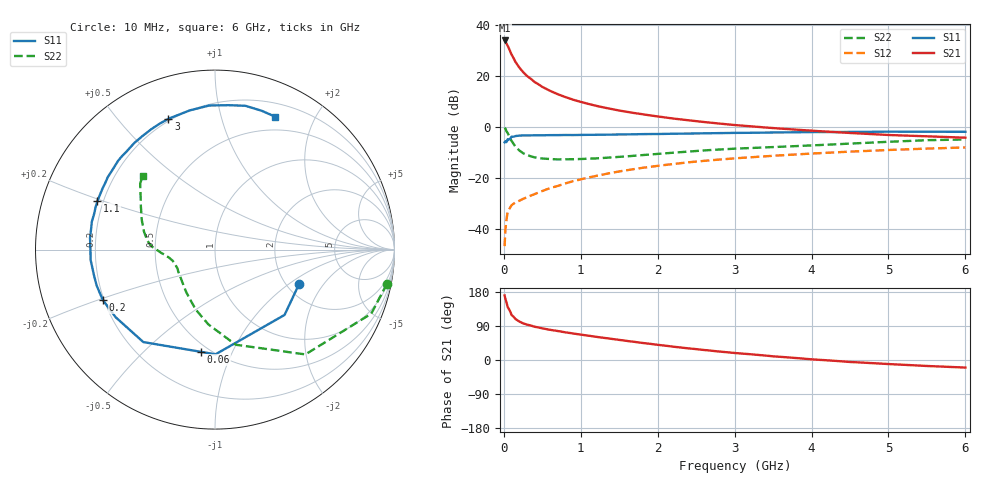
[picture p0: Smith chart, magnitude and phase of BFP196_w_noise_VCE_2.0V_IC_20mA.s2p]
! Infineon Technologies  Discrete & RF Semiconductors
! BFP196
! VCE =  2.0 V,  IC =  20 mA
! Common Emitter S-Parameters:  Jan 2017
# GHz  S  MA  R  50
!  f  S11  S21  S12  S22
! GHz  MAG  ANG  MAG  ANG  MAG  ANG  MAG  ANG
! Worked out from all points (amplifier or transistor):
!   77 points, 10 MHz to 6 GHz, reference 50 ohm
!   highest |S21| = 33.9 dB at 10 MHz (marker M1)
!   |S21| within 3 dB of that: start of sweep to 64.01 MHz
!   unconditionally stable (mu >= 1): 741.2 MHz to 2.532 GHz
!   at 130 MHz: K = 0.39, MSG = 28.3 dB, |S12| = -29.9 dB
!   at 2.2 GHz: K = 1.02, MAG = 8.1 dB, |S12| = -14.4 dB
!   at 6 GHz: K = 0.96, MSG = 1.9 dB, |S12| = -7.9 dB
!   lowest NFmin = 1.10 dB at 450 MHz
!   S11 on the Smith chart (normalised r, x): 10 MHz: 2.32, -1.21; 60 MHz: 0.45, -0.77; 200 MHz: 0.19, -0.21; 1.1 GHz: 0.18, +0.19; 3 GHz: 0.19, +0.69; 6 GHz: 0.34, +1.49
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0.01  0.5063 -22.5  49.78 170.5  0.0047 82.5  0.9767 -11.2
0.02  0.5317 -43.2  48.45 161.5  0.0097 76.9  0.941 -22.3
0.04  0.5269 -75.6  41.54 147.7  0.0178 61.0  0.8065 -39.1
0.05  0.5834 -89.7  39.2 139.3  0.0221 57.6  0.7713 -49.2
0.06  0.575 -97.7  36.36 136.4  0.0235 54.7  0.7143 -53.4
0.1  0.6519 -127.8  26.45 118.8  0.0297 46.0  0.5426 -77.7
0.15  0.6697 -145.8  19.07 108.3  0.0337 42.0  0.4181 -95.1
0.2  0.6853 -155.9  14.78 101.6  0.0363 42.9  0.3516 -107.6
0.25  0.6891 -163.1  11.99 96.8  0.0395 44.8  0.31 -116.7
0.3  0.6893 -168.0  10.09 93.4  0.0426 45.3  0.2851 -124.4
0.4  0.6954 -175.3  7.662 87.8  0.049 49.8  0.2568 -135.3
0.5  0.6943 179.1  6.151 83.5  0.0564 52.1  0.2439 -143.1
0.7  0.6997 170.8  4.426 76.5  0.0708 55.5  0.2342 -153.3
0.9  0.702 163.7  3.453 70.0  0.0878 56.7  0.2364 -159.4
1.1  0.7092 157.4  2.854 64.2  0.1035 57.0  0.2419 -164.0
1.5  0.7211 145.9  2.119 53.1  0.1361 54.5  0.2627 -170.7
2.1  0.7397 129.6  1.549 37.8  0.1826 48.7  0.3082 -177.7
3  0.7737 109.6  1.103 18.5  0.2455 38.0  0.3801 172.4
3.1  0.7749 107.7  1.073 16.9  0.2514 36.8  0.3854 171.0
4.1  0.8032 90.8  0.837 0.5  0.3102 25.2  0.4471 156.2
5.1  0.8175 76.8  0.695 -11.7  0.3624 13.7  0.5255 142.2
6  0.813 65.7  0.623 -20.0  0.4019 3.7  0.5753 134.3
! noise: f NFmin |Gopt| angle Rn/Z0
0.45  1.1  0.34  159  0.05
0.9  1.3  0.47  179  0.06
1.9  2.2  0.68  -137  0.24
2.4  2.65  0.72  -122  0.59
